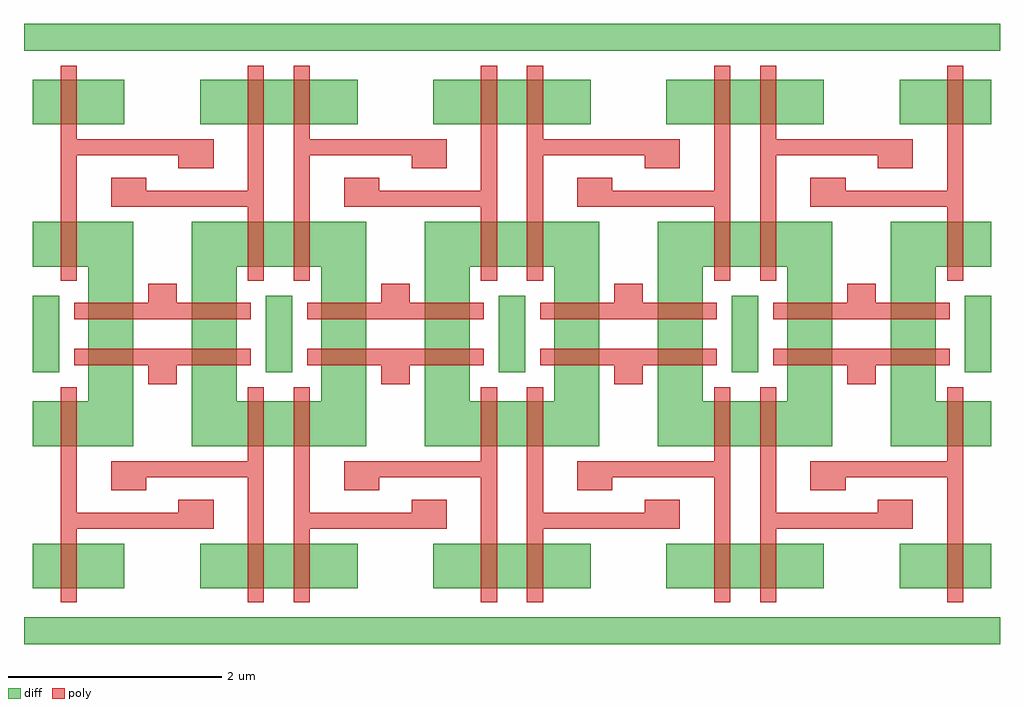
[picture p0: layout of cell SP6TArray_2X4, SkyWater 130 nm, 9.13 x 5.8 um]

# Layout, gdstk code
import gdstk
lib = gdstk.Library(unit=1e-6, precision=1e-09)
def R(c, l, rs):  # rectangles x0, y0, x1, y1
    for r in rs: c.add(gdstk.rectangle(r[:2], r[2:], *l))
def P(c, l, *ps):  # polygons
    for p in ps: c.add(gdstk.Polygon(p, *l))
diff = (65, 20)
poly = (66, 20)

sp6tcell = lib.new_cell('SP6TCell')
R(sp6tcell, diff, [(-0.125,-0.36,0.125,0.36), (2.055,-0.36,2.305,0.36), (-0.125,1.96,0.735,2.38), (1.445,1.96,2.305,2.38), (-0.205,2.65,2.385,2.9)])
P(sp6tcell, diff, [(1.365,-0.125),(1.365,1.05),(2.305,1.05),(2.305,0.63),(1.785,0.63),(1.785,-0.125)],
  [(0.395,-0.125),(0.395,0.63),(-0.125,0.63),(-0.125,1.05),(0.815,1.05),(0.815,-0.125)])
P(sp6tcell, poly, [(1.89,0.5),(1.89,1.19),(0.61,1.19),(0.61,1.46),(0.94,1.46),(0.94,1.34),(1.89,1.34),(1.89,2.51),(2.04,2.51),(2.04,0.5)],
  [(0.14,0.5),(0.14,2.51),(0.29,2.51),(0.29,1.82),(1.57,1.82),(1.57,1.55),(1.24,1.55),(1.24,1.67),(0.29,1.67),(0.29,0.5)],
  [(0.265,0.14),(0.265,0.29),(0.955,0.29),(0.955,0.47),(1.225,0.47),(1.225,0.29),(1.915,0.29),(1.915,0.14)])

sp6tarray_2x1 = lib.new_cell('SP6TArray_2X1')
sp6tarray_2x1.add(gdstk.Reference(sp6tcell, (0,2.775), x_reflection=True))
sp6tarray_2x1.add(gdstk.Reference(sp6tcell, (0,2.775)))

sp6tarray_2x2 = lib.new_cell('SP6TArray_2X2')
sp6tarray_2x2.add(gdstk.Reference(sp6tarray_2x1, (0,0)))
sp6tarray_2x2.add(gdstk.Reference(sp6tarray_2x1, (2.18,0)))

sp6tarray_2x4 = lib.new_cell('SP6TArray_2X4')
sp6tarray_2x4.add(gdstk.Reference(sp6tarray_2x2, (0,0)))
sp6tarray_2x4.add(gdstk.Reference(sp6tarray_2x2, (4.36,0)))

lib.write_gds('SP6TArray_2X4.gds')
